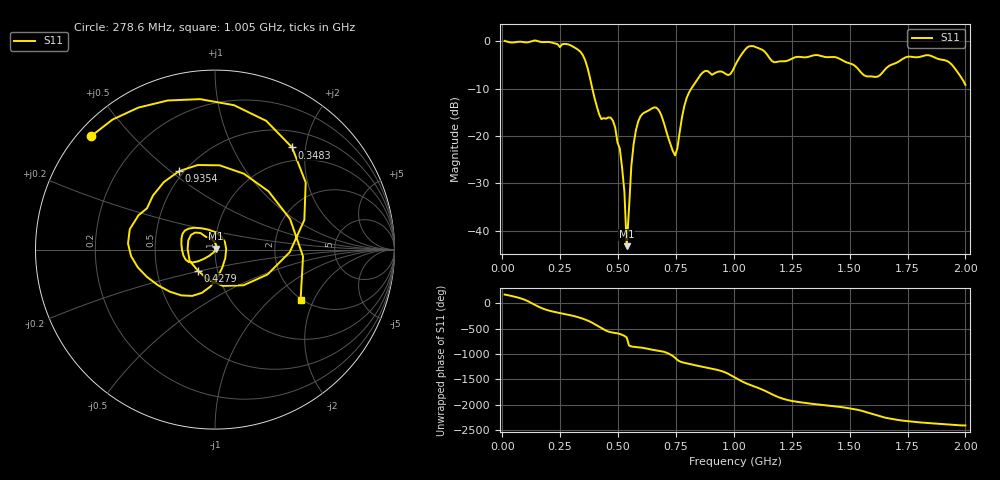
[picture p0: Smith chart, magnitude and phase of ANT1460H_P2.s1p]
!Created with skrf (http://scikit-rf.org).
# Hz S RI R 50.0
!freq ReS11 ImS11
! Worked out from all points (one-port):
!   201 points, 10 MHz to 2 GHz, reference 50 ohm
!   lowest |S11| = -43.2 dB at 537.4 MHz (marker M1), VSWR 1.01, Z = 50.5 + j0.473 ohm
!   |S11| at or under -10 dB: 389 MHz to 815.8 MHz (426.8 MHz wide, 70.8 % of centre)
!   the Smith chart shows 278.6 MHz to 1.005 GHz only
!   S11 on the Smith chart (normalised r, x): 278.6 MHz: 0.04, +0.39; 348.3 MHz: 0.76, +1.75; 427.9 MHz: 0.81, -0.19; 935.4 MHz: 0.47, +0.54; 1.005 GHz: 1.97, -1.59
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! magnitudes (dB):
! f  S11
! 10 MHz  0.1
! 258.8 MHz  -0.6
! 278.6 MHz  -0.6
! 348.3 MHz  -2.9
! 427.9 MHz  -16.4
! 477.6 MHz  -16.7
! 507.5 MHz  -22.6
! 527.4 MHz  -31.8
! 537.4 MHz  -43.2
! 557.2 MHz  -26.3
! 567.2 MHz  -21.7
! 597 MHz  -15.8
! 666.7 MHz  -14.0
! 746.3 MHz  -24.1
! 756.2 MHz  -22.5
! 786.1 MHz  -13.6
! 806 MHz  -10.8
! 865.7 MHz  -6.6
! 935.4 MHz  -6.4
! 1.005 GHz  -5.1
! 1.075 GHz  -1.0
! 1.174 GHz  -4.4
! 1.254 GHz  -3.6
! 1.502 GHz  -4.7
! 1.612 GHz  -7.5
! 1.751 GHz  -3.2
! 1.92 GHz  -4.1
! 2 GHz  -9.2
